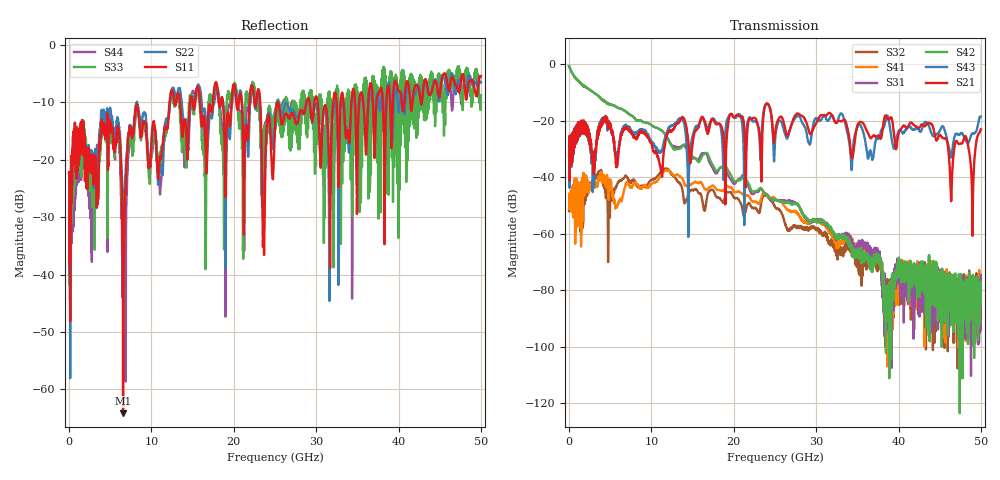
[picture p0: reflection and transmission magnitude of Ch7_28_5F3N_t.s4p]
!Agilent Technologies,N5247A,US51170199,A.09.90.13
!Agilent N5247A: A.09.90.13
!Date: Tuesday, December 08, 2015 12:52:41
!Correction: S11(Full 4 Port(1,2,3,4))
!S12(Full 4 Port(1,2,3,4))
!S13(Full 4 Port(1,2,3,4))
!S14(Full 4 Port(1,2,3,4))
!S21(Full 4 Port(1,2,3,4))
!S22(Full 4 Port(1,2,3,4))
!S23(Full 4 Port(1,2,3,4))
!S24(Full 4 Port(1,2,3,4))
!S31(Full 4 Port(1,2,3,4))
!S32(Full 4 Port(1,2,3,4))
!S33(Full 4 Port(1,2,3,4))
!S34(Full 4 Port(1,2,3,4))
!S41(Full 4 Port(1,2,3,4))
!S42(Full 4 Port(1,2,3,4))
!S43(Full 4 Port(1,2,3,4))
!S44(Full 4 Port(1,2,3,4))
!S4P File: Measurements: <S11,S12,S13,S14>,
!<S21,S22,S23,S24>,
!<S31,S32,S33,S34>,
!<S41,S42,S43,S44>:
# Hz S  dB  R 50
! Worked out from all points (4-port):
!   3201 points, 10 MHz to 50 GHz, reference 50 ohm
!   strongest paths, dB at 10 MHz, 12.51 GHz, 25 GHz, 37.5 GHz, 50 GHz:
!     S21: -32.4, -23.5, -24.5, -25.3, -23.1
!     S43: -32.5, -21.6, -27.6, -26.4, -18.6
!     S42: -0.7, -29.3, -47.9, -68.8, -82.7
!     S31: -0.7, -28.7, -48.0, -66.3, -74.6
!     S41: -51.3, -38.7, -47.5, -68.4, -89.1
!     S32: -52.0, -39.1, -50.6, -70.4, -75.8
!   lowest |S11| = -64.2 dB at 6.556 GHz (marker M1), VSWR 1.00, Z = 49.9 - j0.0158 ohm
!   |S11| at or under -10 dB: start of sweep to 12.22 GHz; 23.21 GHz to 28.83 GHz (5.616 GHz wide, 21.6 % of centre); 30.18 GHz to 32.06 GHz (1.884 GHz wide, 6.05 % of centre)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
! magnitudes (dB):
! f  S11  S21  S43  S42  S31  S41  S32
! 10 MHz  -22.1  -32.4  -32.5  -0.7  -0.7  -51.3  -52.0
! 4.197 GHz  -13.5  -19.2  -19.0  -13.1  -12.9  -39.1  -40.3
! 6.556 GHz  -64.2  -23.8  -22.8  -16.1  -16.2  -46.2  -40.5
! 12.62 GHz  -8.3  -23.2  -21.6  -29.8  -29.1  -39.2  -39.4
! 22.99 GHz  -7.7  -22.1  -22.8  -44.4  -45.1  -49.3  -52.4
! 23.63 GHz  -32.5  -17.5  -16.5  -45.4  -45.2  -45.7  -46.3
! 50 GHz  -5.4  -23.1  -18.6  -82.7  -74.6  -89.1  -75.8
